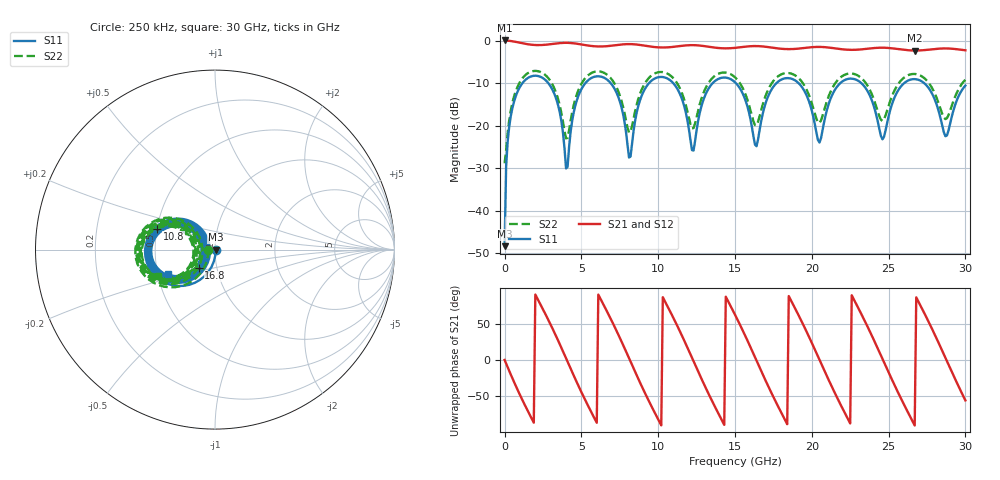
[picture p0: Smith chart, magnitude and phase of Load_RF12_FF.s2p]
! Port 1 = P1 P2
! Port 2 = P2 P2
# hz S ri R 50
! freq  reS11  imS11  reS21  imS21  reS12  imS12  reS22  imS22
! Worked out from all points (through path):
!   301 points, 250 kHz to 30 GHz, reference 50 ohm
!   highest |S21| = 0.13 dB at 250 kHz (marker M1); lowest = -2.2 dB at 26.7 GHz (marker M2)
!   lowest |S11| = -48.3 dB at 250 kHz (marker M3), VSWR 1.01, Z = 50.4 - j0.0102 ohm
!   |S11| at or under -10 dB: 19.16 GHz to 21.83 GHz (2.677 GHz wide, 13.1 % of centre); 23.25 GHz to 25.99 GHz (2.746 GHz wide, 11.2 % of centre); 27.34 GHz to end of sweep (the widest 3 of 8)
!   |S22| runs from -28.8 to -7.0 dB; largest |S21 - S12| = 0
!   S11 on the Smith chart (normalised r, x): 250 kHz: 1.01, -0.00; 10.8 GHz: 0.50, +0.13; 16.8 GHz: 0.82, -0.17; 30 GHz: 0.56, -0.17
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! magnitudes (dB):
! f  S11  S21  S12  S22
! 250 kHz  -48.3  0.1  0.1  -28.8
! 200.2 MHz  -23.6  0.1  0.1  -21.6
! 900.2 MHz  -11.5  -0.3  -0.3  -10.3
! 3 GHz  -10.7  -0.8  -0.8  -9.5
! 4 GHz  -30.0  -0.4  -0.4  -23.0
! 5.1 GHz  -10.7  -0.9  -0.9  -9.5
! 7.1 GHz  -10.9  -1.0  -1.0  -9.7
! 8.1 GHz  -27.5  -0.7  -0.7  -21.6
! 10.1 GHz  -8.5  -1.5  -1.5  -7.3
! 10.8 GHz  -9.3  -1.4  -1.4  -8.1
! 12.3 GHz  -25.8  -1.0  -1.0  -20.5
! 13.3 GHz  -11.1  -1.4  -1.4  -9.8
! 15.1 GHz  -10.1  -1.6  -1.6  -8.9
! 16.3 GHz  -24.4  -1.2  -1.2  -19.8
! 16.8 GHz  -17.2  -1.3  -1.3  -15.0
! 18.5 GHz  -8.8  -1.9  -1.9  -7.6
! 20.1 GHz  -17.9  -1.4  -1.4  -15.9
! 22.5 GHz  -8.9  -2.1  -2.1  -7.7
! 25.1 GHz  -16.3  -1.7  -1.7  -14.2
! 26.7 GHz  -9.0  -2.2  -2.2  -7.8
! 28.7 GHz  -22.4  -1.8  -1.8  -18.4
! 30 GHz  -10.5  -2.2  -2.2  -9.1
